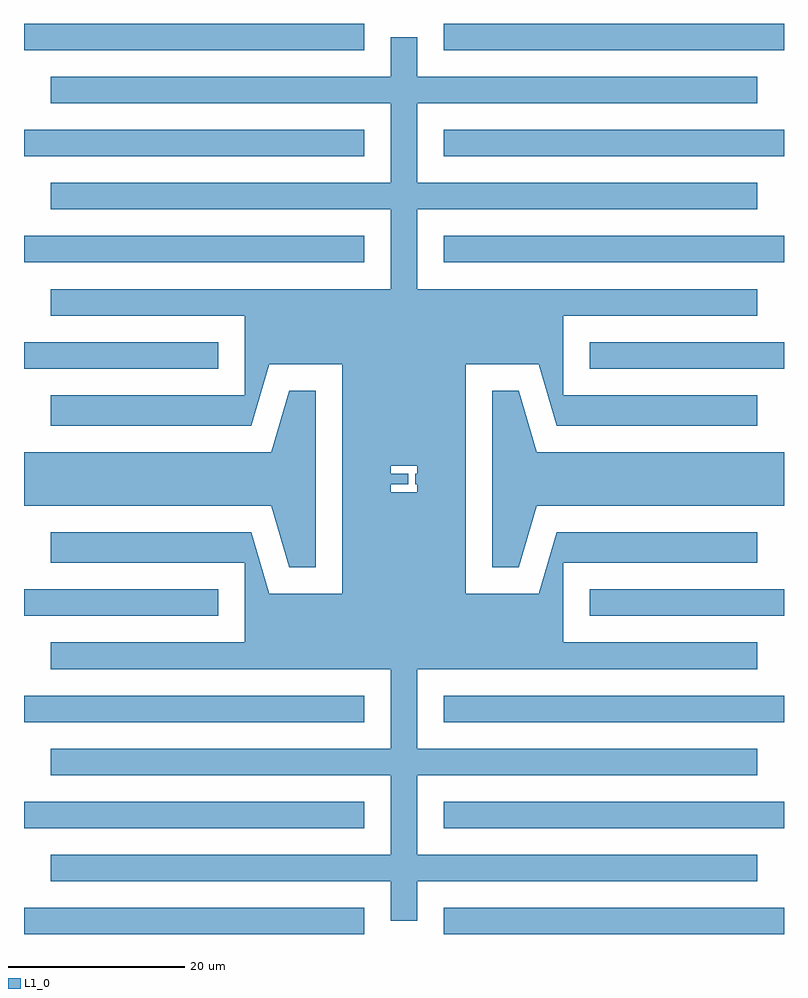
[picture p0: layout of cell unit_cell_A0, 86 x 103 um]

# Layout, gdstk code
from math import pi, radians
import gdstk
lib = gdstk.Library(unit=1e-6, precision=1e-09)
def R(c, l, rs):  # rectangles x0, y0, x1, y1
    for r in rs: c.add(gdstk.rectangle(r[:2], r[2:], *l))
def P(c, l, *ps):  # polygons
    for p in ps: c.add(gdstk.Polygon(p, *l))
L1_0 = (1, 0)

unnamed_325 = lib.new_cell('Unnamed_325')
P(unnamed_325, L1_0, [(38.5,0),(38.5,4.5),(0,4.5),(0,7.5),(38.5,7.5),(38.5,16.5),(0,16.5),(0,19.5),(38.5,19.5),(38.5,28.5),(0,28.5),(0,31.5),(22,31.5),(22,40.5),(0,40.5),(0,44),(22.737,44),(24.737,37),(33,37),(33,50),(38.5,50),(38.5,48.5),(40,48.5),(40,0)])

straight_l38p5_n2_csxs_e = lib.new_cell('straight_L38p5_N2_CSxs_e9659eb0')
R(straight_l38p5_n2_csxs_e, L1_0, [(0,-1.5,38.5,1.5)])

straight_array_n3_s9_l3_ = lib.new_cell('straight_array_N3_S9_L3_b91b2c6a')
straight_array_n3_s9_l3_.add(gdstk.Reference(straight_l38p5_n2_csxs_e, (0,0)))
straight_array_n3_s9_l3_.add(gdstk.Reference(straight_l38p5_n2_csxs_e, (0,12)))
straight_array_n3_s9_l3_.add(gdstk.Reference(straight_l38p5_n2_csxs_e, (0,24)))

straight_l22_n2_csxs_e96 = lib.new_cell('straight_L22_N2_CSxs_e9659eb0')
R(straight_l22_n2_csxs_e96, L1_0, [(0,-1.5,22,1.5)])

unnamed_322 = lib.new_cell('Unnamed_322')
unnamed_322.add(gdstk.Reference(straight_array_n3_s9_l3_, (-3,0)))
unnamed_322.add(gdstk.Reference(straight_l22_n2_csxs_e96, (-3,36)))

straight_l31p5_n2_csxs_4 = lib.new_cell('straight_L31p5_N2_CSxs_41e8578a')
R(straight_l31p5_n2_csxs_4, L1_0, [(0,-3,31.5,3)])

triangle_x10_x3_y5_y3_l1 = lib.new_cell('triangle_X10_X3_Y5_Y3_L1_0')
P(triangle_x10_x3_y5_y3_l1, L1_0, [(0,0),(0,5),(3,5),(10,3),(10,0)])

unnamed_323 = lib.new_cell('Unnamed_323')
unnamed_323.add(gdstk.Reference(straight_l31p5_n2_csxs_4, (-3,50)))
unnamed_323.add(gdstk.Reference(triangle_x10_x3_y5_y3_l1, (30,50), rotation=3*pi/2, x_reflection=True))

unnamed_326 = lib.new_cell('Unnamed_326')
unnamed_326.add(gdstk.Reference(unnamed_325, (0,0)))
unnamed_326.add(gdstk.Reference(unnamed_322, (0,0)))
unnamed_326.add(gdstk.Reference(unnamed_323, (0,0)))

rectangle_s2_0p6_lwg_cf_ = lib.new_cell('rectangle_S2_0p6_LWG_CF_a6a46f17')
R(rectangle_s2_0p6_lwg_cf_, L1_0, [(0,0,2,0.6)])

rectangle_s0p2_1p2_lwg__ = lib.new_cell('rectangle_S0p2_1p2_LWG__107b6a9b')
R(rectangle_s0p2_1p2_lwg__, L1_0, [(0,0,0.2,1.2)])

unnamed_327 = lib.new_cell('Unnamed_327')
unnamed_327.add(gdstk.Reference(rectangle_s2_0p6_lwg_cf_, (0,0)))
unnamed_327.add(gdstk.Reference(rectangle_s0p2_1p2_lwg__, (2.8,-0.6)))

unit_cell_a0 = lib.new_cell('unit_cell_A0')
unit_cell_a0.add(gdstk.Reference(unnamed_326, (0,0)))
unit_cell_a0.add(gdstk.Reference(unnamed_326, (80,0), rotation=pi, x_reflection=True))
unit_cell_a0.add(gdstk.Reference(unnamed_326, (0,100), x_reflection=True))
unit_cell_a0.add(gdstk.Reference(unnamed_326, (80,100), rotation=pi))
unit_cell_a0.add(gdstk.Reference(unnamed_327, (38.5,50)))
unit_cell_a0.add(gdstk.Reference(unnamed_327, (38.5,50), x_reflection=True))

lib.write_gds('unit_cell_A0.gds')
